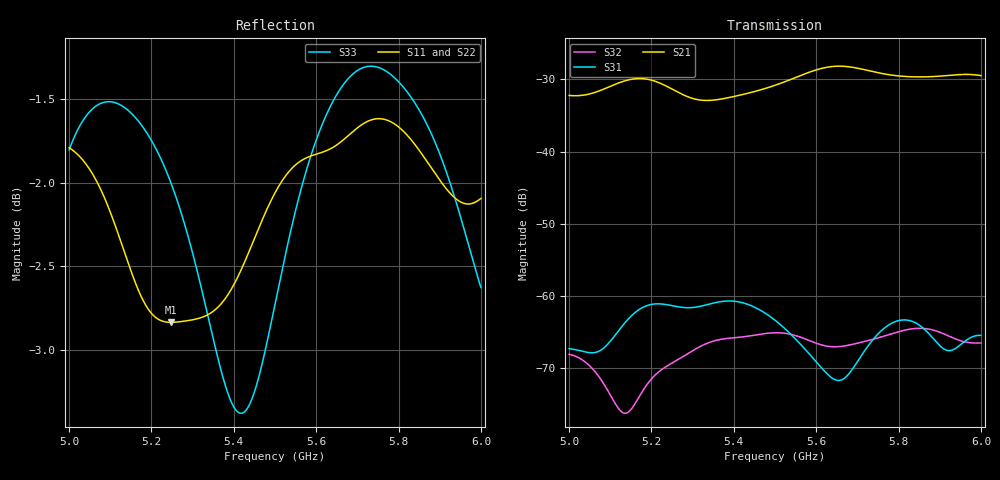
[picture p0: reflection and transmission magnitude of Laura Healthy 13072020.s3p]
! TOUCHSTONE file generated by CST MICROWAVE STUDIO
! Date and time: Mon Jul 13 09:58:34 2020
! Project name: Female Human Lung Lower Right.cst
! Header version: 2018
! Port assignment regex: !\s*Touchstone port\s*([0-9]+)\s*=\s*(CST MWS port|CST DS port)\s*([0-9]+|Zmin|Zmax)\s*\(\"(.*)\"\)(\s*mode\s*([0-9]+))?.*
! Touchstone port assignment:
! Touchstone port 1 = CST MWS port 1 ("")
! Touchstone port 2 = CST MWS port 2 ("")
! Touchstone port 3 = CST MWS port 3 ("")
# GHz S RI R 50
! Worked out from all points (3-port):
!   1001 points, 5 GHz to 6 GHz, reference 50 ohm
!   strongest paths, dB at 5 GHz, 5.25 GHz, 5.5 GHz, 5.75 GHz, 6 GHz:
!     S21: -32.2, -31.3, -30.8, -29.1, -29.5
!     S31: -67.3, -61.4, -63.4, -65.3, -65.5
!     S32: -68.1, -69.3, -65.1, -65.8, -66.6
!   lowest |S11| = -2.8 dB at 5.248 GHz (marker M1), VSWR 6.18, Z = 309 - j10.1 ohm
!   |S11| at or under -10 dB: nowhere
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5  0.8125 -0.0479  0.0142 -0.0199  -9.54e-05 0.000443
   0.0143 -0.0199  0.8021 -0.0449  0.000373 0.000121
   -0.000113 0.000415  0.000373 0.000121  0.8111 0.049
5.063  0.7944 -0.0628  0.00556 -0.0251  0.000175 0.000345
       0.00553 -0.0251  0.7884 -0.0563  0.000193 -0.000227
       0.000191 0.000356  0.000193 -0.000226  0.837 0.0165
5.135  0.7543 -0.0632  -0.0131 -0.0279  0.000647 0.000119
       -0.0131 -0.028  0.7543 -0.0609  1.93e-05 -0.000152
       0.000635 0.000124  1.85e-05 -0.000152  0.8363 -0.0224
5.248  0.7215 -0.00783  -0.0271 0.00352  -0.000396 -0.00076
       -0.0271 0.00351  0.7052 0.00128  -0.000292 -0.000171
       -0.000403 -0.000755  -0.000293 -0.000171  0.7913 -0.0644
5.411  0.7426 0.0608  -0.00831 0.023  0.0002 0.00089
       -0.00831 0.023  0.7754 0.0675  0.000282 0.000431
       0.000203 0.000884  0.000282 0.000431  0.6781 0.00932
5.5  0.7857 0.0712  0.0101 0.0269  0.000633 -0.000224
     0.0101 0.027  0.8025 0.0476  0.000492 -0.000253
     0.000638 -0.000224  0.000493 -0.000253  0.7238 0.0993
5.652  0.8143 0.0482  0.0365 -0.0139  -0.00013 -0.000219
       0.0365 -0.0139  0.8002 0.0412  -0.000411 -0.000167
       -0.000133 -0.000222  -0.00041 -0.000167  0.8411 0.0812
5.796  0.8262 0.0115  -0.00927 -0.0322  -0.000431 0.0005
       -0.00928 -0.0322  0.82 0.0194  6.42e-05 0.000554
       -0.000434 0.000507  6.35e-05 0.000554  0.8527 0.000455
5.927  0.7883 0.00489  -0.0337 -0.00228  0.000398 4.46e-05
       -0.0337 -0.00227  0.7948 0.00498  0.000367 -0.000366
       0.000413 5.97e-05  0.000368 -0.000364  0.7921 -0.04
6  0.7854 0.0269  -0.0247 0.0228  0.000366 -0.000438
   -0.0247 0.0227  0.7851 0.0189  -0.000102 -0.000461
   0.000325 -0.00042  -0.000106 -0.000458  0.7389 -0.0191
